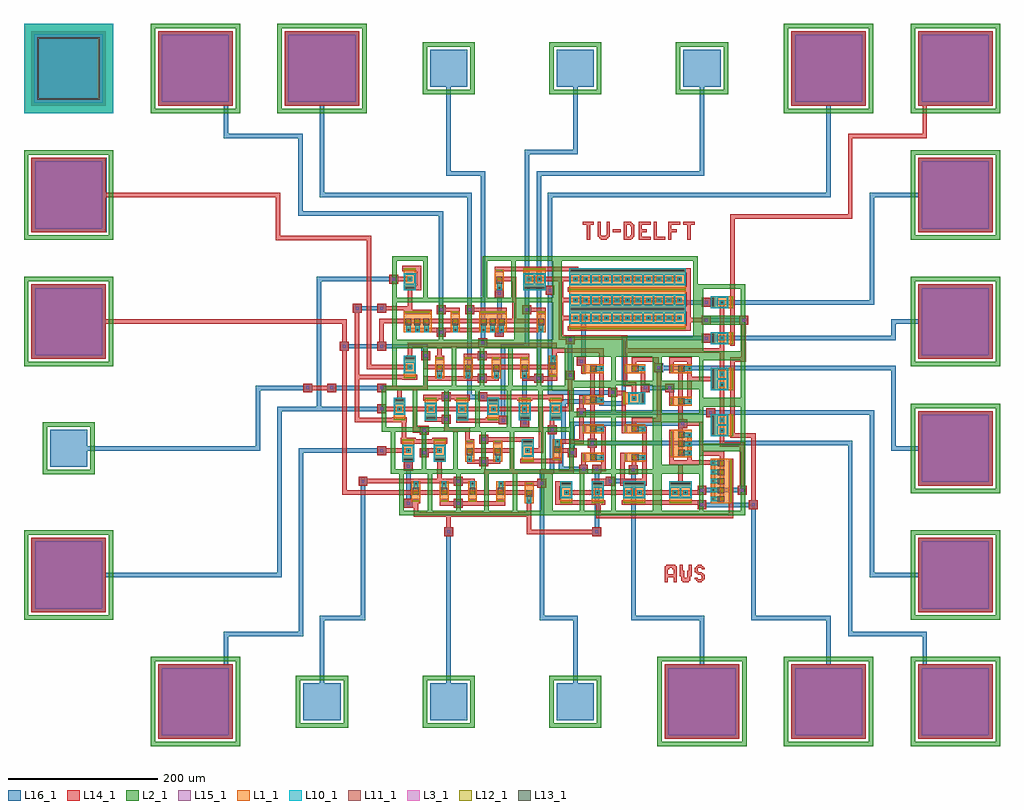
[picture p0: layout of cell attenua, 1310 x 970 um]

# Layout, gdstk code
from math import pi, radians
import gdstk
lib = gdstk.Library(unit=1e-6, precision=1e-10)
def R(c, l, rs):  # rectangles x0, y0, x1, y1
    for r in rs: c.add(gdstk.rectangle(r[:2], r[2:], *l))
def A(c, l, x, y, w, h, nx, ny, dx, dy):  # array of equal rectangles
    R(c, l, [(x+i*dx, y+j*dy, x+i*dx+w, y+j*dy+h) for i in range(nx) for j in range(ny)])
L1_1 = (1, 1)
L2_1 = (2, 1)
L3_1 = (3, 1)
L10_1 = (10, 1)
L11_1 = (11, 1)
L12_1 = (12, 1)
L13_1 = (13, 1)
L14_1 = (14, 1)
L15_1 = (15, 1)
L16_1 = (16, 1)

pad_dm_100 = lib.new_cell('pad_dm_100')
R(pad_dm_100, L2_1, [(0,0,120,6), (0,6,6,114), (114,6,120,114), (0,114,120,120)])
R(pad_dm_100, L14_1, [(10,10,110,110)])
R(pad_dm_100, L15_1, [(15,15,105,105)])
R(pad_dm_100, L16_1, [(10,10,110,110)])

letter_s = lib.new_cell('letter_s')
R(letter_s, L14_1, [(340,578,346,580), (338,580,348,582), (336,582,340,584), (346,582,350,584), (346,584,350,587), (345,587,350,588), (340,588,348,590), (338,590,346,592), (336,592,341,593), (336,593,340,598), (346,596,350,597), (346,597,350,598), (338,598,348,600), (340,600,346,602)])

letter_v = lib.new_cell('letter_v')
R(letter_v, L14_1, [(358,578,362,580), (362,578,366,580), (356,580,368,584), (356,584,360,586), (364,584,368,586), (354,586,360,594), (364,586,370,594), (354,594,358,602), (366,594,370,602)])

letter_a = lib.new_cell('letter_a')
R(letter_a, L14_1, [(652,443,656,449), (664,443,668,447), (664,447,668,450), (652,449,656,450), (652,450,668,454), (652,454,656,461), (664,454,668,461), (652,461,658,463), (662,461,668,463), (652,463,668,465), (654,465,666,467)])

letter_t = lib.new_cell('letter_t')
R(letter_t, L14_1, [(414,578,419,598), (409,598,424,602)])

letter_f = lib.new_cell('letter_f')
R(letter_f, L14_1, [(652,443,656,447), (652,447,656,449), (652,449,656,450), (652,450,656,453), (652,453,663,457), (652,457,656,463), (652,463,668,467)])

letter_l = lib.new_cell('letter_l')
R(letter_l, L14_1, [(652,443,668,447), (652,447,656,449), (652,449,656,450), (652,450,656,457), (652,457,656,463), (652,463,656,467)])

letter_e = lib.new_cell('letter_e')
R(letter_e, L14_1, [(652,443,668,447), (652,447,656,449), (652,449,656,450), (652,450,656,453), (652,453,663,457), (652,457,656,463), (652,463,668,467)])

letter_d = lib.new_cell('letter_d')
R(letter_d, L14_1, [(374,578,378,602), (378,578,384,579), (378,579,386,581), (378,581,387,582), (383,582,388,584), (384,584,388,586), (384,586,388,588), (384,588,388,594), (384,594,388,596), (383,596,388,598), (378,598,387,599), (378,599,386,600), (378,600,384,602)])

letter_u = lib.new_cell('letter_u')
R(letter_u, L14_1, [(358,578,362,580), (362,578,366,580), (356,580,368,582), (354,582,370,583), (354,583,359,584), (365,583,370,584), (354,584,358,588), (366,584,370,602), (354,588,358,602)])

pnp = lib.new_cell('pnp')
R(pnp, L1_1, [(-6,-4,24,12)])
R(pnp, L2_1, [(-22,-20,40,-14), (-22,-14,-16,22), (34,-14,40,22), (-22,22,40,28)])
R(pnp, L3_1, [(22,-4,24,12)])
R(pnp, L10_1, [(-6,-4,17,-2), (-6,-2,3,10), (15,-2,17,10), (6,1,12,7), (-6,10,17,12)])
R(pnp, L12_1, [(22,-4,24,12)])
R(pnp, L13_1, [(-4,-2,-2,10), (8,3,10,5)])
R(pnp, L14_1, [(20,-6,26,14), (-6,-4,0,12), (6,1,12,7), (-4,3,-2,5), (-4,3,-2,5), (22,3,24,4), (22,3,24,4), (8,4,10,5), (8,4,10,5)])

npn = lib.new_cell('npn')
R(npn, L1_1, [(-3,-15,25,-3)])
R(npn, L2_1, [(-19,-31,43,-25), (-19,-25,-13,7), (37,-25,43,7), (-19,7,43,13)])
R(npn, L3_1, [(22,-13,25,-5)])
R(npn, L10_1, [(-3,-12,8,-6)])
R(npn, L11_1, [(6,-13,15,-5)])
R(npn, L12_1, [(23,-13,25,-5), (11,-11,13,-7)])
R(npn, L13_1, [(-1,-10,1,-8)])
R(npn, L14_1, [(21,-15,27,-3), (9,-13,15,-5), (-3,-12,3,-6), (10,-10,13,-8), (10,-10,13,-8), (-1,-9,0,-8), (-1,-9,0,-8), (23,-9,25,-8), (23,-9,25,-8)])

npn5 = lib.new_cell('npn5')
R(npn5, L1_1, [(-3,-63,25,-3)])
R(npn5, L2_1, [(-19,-79,43,-73), (-19,-73,-13,7), (37,-73,43,7), (-19,7,43,13)])
R(npn5, L3_1, [(22,-61,25,-5)])
A(npn5, L10_1, -3, -60, 11, 6, 1, 5, 0, 12)
A(npn5, L11_1, 6, -61, 9, 8, 1, 5, 0, 12)
A(npn5, L12_1, 11, -59, 2, 4, 1, 5, 0, 12)
R(npn5, L12_1, [(23,-61,25,-5)])
A(npn5, L13_1, -1, -58, 2, 2, 1, 5, 0, 12)
R(npn5, L14_1, [(21,-63,27,-3), (9,-61,15,-5), (-3,-60,3,-6), (-2,-50,1,-46), (-2,-50,1,-46), (10,-46,13,-44), (10,-46,13,-44), (23,-41,24,-40), (23,-41,24,-40)])

npn3 = lib.new_cell('npn3')
R(npn3, L1_1, [(-3,-40,25,-3)])
R(npn3, L2_1, [(-19,-56,43,-50), (-19,-50,-13,-25), (37,-50,43,-25), (-19,-25,-13,7), (37,-25,43,7), (-19,7,43,13)])
R(npn3, L3_1, [(22,-37,25,-5)])
A(npn3, L10_1, -3, -36, 11, 6, 1, 3, 0, 12)
A(npn3, L11_1, 6, -37, 9, 8, 1, 3, 0, 12)
A(npn3, L12_1, 11, -35, 2, 4, 1, 3, 0, 12)
R(npn3, L12_1, [(23,-37,25,-5)])
A(npn3, L13_1, -1, -34, 2, 2, 1, 3, 0, 12)
R(npn3, L14_1, [(21,-40,27,-3), (9,-37,15,-5), (-3,-36,3,-6), (11,-23,13,-20), (11,-23,13,-20), (-1,-21,0,-19), (-1,-21,0,-19), (22,-21,24,-18), (22,-21,24,-18)])

pnp2 = lib.new_cell('pnp2')
R(pnp2, L1_1, [(-6,-4,24,26)])
R(pnp2, L2_1, [(-22,-20,40,-14), (-22,-14,-16,36), (34,-14,40,22), (34,22,40,36), (-22,36,40,42)])
R(pnp2, L3_1, [(22,-4,24,26)])
A(pnp2, L10_1, -6, -4, 23, 2, 1, 3, 0, 14)
R(pnp2, L10_1, [(-6,-2,3,10), (15,-2,17,10), (6,1,12,7), (-6,12,3,24), (15,12,17,24), (6,15,12,21)])
R(pnp2, L12_1, [(22,-4,24,26)])
R(pnp2, L13_1, [(-4,-2,-2,24), (8,3,10,5), (8,17,10,19)])
R(pnp2, L14_1, [(20,-6,26,28), (-6,-4,0,26), (6,1,12,21), (-4,11,-2,13), (-4,11,-2,13), (22,13,23,16), (22,13,23,16), (7,15,10,17), (7,15,10,17)])

pnp33inst = lib.new_cell('pnp33inst')
R(pnp33inst, L1_1, [(-6,-144,24,12)])
R(pnp33inst, L3_1, [(22,-144,24,12)])
A(pnp33inst, L10_1, -6, -144, 23, 2, 1, 12, 0, 14)
A(pnp33inst, L10_1, -6, -142, 9, 12, 1, 11, 0, 14)
A(pnp33inst, L10_1, 15, -142, 2, 12, 1, 11, 0, 14)
A(pnp33inst, L10_1, 6, -139, 6, 6, 1, 11, 0, 14)
R(pnp33inst, L12_1, [(22,-144,24,12)])
A(pnp33inst, L13_1, 8, -137, 2, 2, 1, 11, 0, 14)
R(pnp33inst, L13_1, [(-4,-142,-2,10)])
R(pnp33inst, L14_1, [(20,-146,26,14), (-6,-144,0,12), (-5,-143,0,-139), (-5,-143,0,-139), (21,-143,25,-140), (21,-143,25,-140), (6,-139,12,7), (8,-137,11,-134), (8,-137,11,-134)])

pnp33 = lib.new_cell('pnp33')
R(pnp33, L2_1, [(-22,-160,92,-154), (-22,-154,-16,22), (86,-154,92,22), (-22,22,92,28)])
R(pnp33, L14_1, [(-6,-151,78,-145), (-4,-149,1,-145), (-4,-149,1,-145), (-6,-145,0,-3), (46,-145,52,-139), (20,-144,26,-3), (58,-137,63,-136), (58,-136,64,-3), (6,-134,12,-3), (34,-133,40,-3), (34,1,40,20), (58,1,64,20), (6,2,12,20), (6,20,64,26), (8,20,10,26), (8,20,10,26)])
pnp33.add(gdstk.Reference(pnp33inst, (46,-132), rotation=pi))
pnp33.add(gdstk.Reference(pnp33inst, (52,0)))
pnp33.add(gdstk.Reference(pnp33inst, (0,0)))

pad_sm_50 = lib.new_cell('pad_sm_50')
R(pad_sm_50, L2_1, [(-10,-10,60,-4), (-10,-4,-4,54), (54,-4,60,54), (-10,54,60,60)])
R(pad_sm_50, L16_1, [(0,0,50,50), (20,24,25,28), (20,24,25,28)])

pads_dm_100 = lib.new_cell('padS_dm_100')
R(pads_dm_100, L2_1, [(-60,-60,60,60)])
R(pads_dm_100, L10_1, [(-60,-60,60,60)])
R(pads_dm_100, L13_1, [(-42,-42,42,-40), (-42,-40,-40,40), (40,-40,42,40), (-42,40,42,42)])
R(pads_dm_100, L14_1, [(-50,-50,50,50)])
R(pads_dm_100, L15_1, [(-46,-46,46,46)])
R(pads_dm_100, L16_1, [(-50,-50,50,50)])

attenua = lib.new_cell('attenua')
R(attenua, L2_1, [(192,0,203,59), (223,216,403,228), (209,228,404,239), (159,230,167,286), (396,239,403,310)])
R(attenua, L14_1, [(59,-28,71,-16), (258,-28,270,-25), (170,-25,270,-19), (170,-19,176,-2), (258,-19,270,-16), (62,-16,68,-2), (263,-4,447,2), (18,-2,176,4), (263,2,269,14), (441,2,447,23), (18,4,24,10), (170,4,176,17), (399,8,411,14), (468,8,480,17), (5,10,24,16), (72,10,84,13), (53,13,141,16), (208,14,213,15), (221,14,269,20), (323,14,370,20), (386,14,411,20), (208,15,214,40), (5,16,18,22), (19,16,25,22), (57,16,141,19), (171,17,176,22), (468,17,480,20), (72,19,84,22), (471,20,477,104), (-78,28,172,34), (224,28,372,34), (380,28,411,34), (453,28,465,40), (-78,34,-72,37), (113,34,119,56), (399,34,411,40), (-78,37,-72,193), (184,37,196,40), (-56,40,-44,43), (72,40,84,43), (133,40,196,46), (208,40,219,46), (273,40,288,43), (295,40,300,43), (329,40,331,43), (456,40,462,92), (362,41,368,46), (-56,43,100,49), (257,43,288,49), (295,43,331,49), (184,46,196,49), (373,46,379,68), (-56,49,-44,52), (50,49,56,78), (72,49,84,52), (276,49,288,52), (295,49,301,72), (325,49,331,75), (307,55,319,64), (113,56,233,62), (240,56,252,68), (258,56,270,59), (258,59,276,68), (5,60,17,72), (147,62,153,84), (227,62,233,65), (307,64,319,67), (227,65,233,71), (106,66,118,69), (311,67,317,78), (429,67,435,80), (243,68,249,72), (270,68,276,113), (361,68,423,74), (90,69,134,72), (173,70,217,73), (227,71,233,78), (91,72,134,75), (295,72,302,84), (173,73,212,76), (361,74,367,75), (385,74,391,88), (106,75,118,78), (326,75,331,81), (361,75,367,85), (255,76,261,91), (26,78,38,84), (225,78,237,84), (401,80,435,86), (-31,81,-19,84), (325,81,331,104), (-31,84,13,90), (26,84,56,90), (90,84,153,90), (168,84,192,90), (209,84,237,90), (401,86,407,93), (-31,90,-19,93), (186,90,192,140), (252,91,264,103), (429,92,462,98), (401,93,407,120), (1,96,63,102), (106,96,118,99), (208,96,246,102), (429,98,435,117), (90,99,99,100), (106,99,167,102), (90,100,93,102), (1,102,21,103), (43,102,63,103), (87,102,93,112), (106,102,179,105), (240,102,246,132), (2,103,8,125), (255,103,261,151), (325,104,331,113), (443,104,477,110), (106,105,118,108), (373,105,379,117), (26,108,38,111), (198,109,210,121), (297,110,303,143), (17,111,38,120), (59,112,93,118), (269,113,276,116), (311,113,317,125), (326,113,331,119), (267,116,276,119), (373,117,385,120), (59,118,65,119), (161,118,173,130), (59,119,65,123), (17,120,23,140), (373,120,407,126), (201,121,207,128), (132,122,144,124), (443,122,449,179), (56,123,68,126), (75,124,144,130), (-61,125,9,127), (311,125,350,131), (429,125,435,179), (33,126,68,132), (373,126,385,128), (-61,127,1,131), (2,127,8,129), (210,128,214,134), (373,128,385,129), (373,129,379,199), (75,130,91,132), (131,130,144,132), (-61,131,-55,183), (344,131,350,143), (38,132,44,134), (56,132,68,135), (132,132,144,134), (237,132,249,144), (411,132,423,144), (-31,137,-19,140), (-31,140,231,146), (297,143,303,149), (344,143,350,192), (240,144,246,151), (-31,146,-19,149), (225,146,231,182), (361,149,367,155), (385,150,391,180), (240,151,243,152), (-4,152,2,168), (117,152,123,153), (240,152,246,158), (255,152,261,194), (56,153,68,156), (105,153,123,154), (267,153,273,218), (38,154,49,156), (74,154,90,156), (105,154,133,156), (201,154,210,156), (297,155,303,161), (311,155,317,173), (38,156,90,159), (105,156,161,160), (167,156,210,160), (240,158,243,161), (323,158,329,165), (361,158,367,165), (31,159,90,160), (279,159,291,161), (31,160,93,162), (105,160,219,162), (279,161,297,167), (56,162,68,165), (105,162,117,165), (-130,165,-118,168), (-98,165,-86,168), (-31,165,-19,168), (323,165,334,177), (356,165,367,177), (279,167,291,171), (-130,168,-86,174), (-31,168,37,174), (299,173,317,179), (-130,174,-118,177), (-98,174,-86,177), (-31,174,-19,177), (31,174,37,181), (323,177,329,200), (104,178,116,181), (180,178,192,181), (299,179,305,218), (385,180,422,186), (31,181,132,187), (164,181,211,184), (222,182,234,194), (-61,183,19,188), (166,184,211,187), (385,186,391,206), (104,187,116,190), (166,187,172,190), (180,187,192,190), (-61,188,23,189), (429,188,435,194), (-61,189,-55,272), (243,190,249,200), (341,192,352,204), (-78,193,-72,205), (443,193,449,206), (311,194,317,206), (429,194,435,218), (-45,196,13,197), (31,196,206,202), (-45,197,16,202), (361,197,367,206), (237,201,249,213), (-45,202,-39,203), (31,202,37,208), (-45,203,-39,369), (341,204,347,206), (-78,205,-72,221), (311,206,347,212), (361,206,391,212), (443,206,464,212), (28,208,40,220), (52,208,58,214), (104,208,116,211), (204,208,210,218), (9,209,16,215), (87,211,173,214), (458,212,464,256), (50,214,56,226), (85,214,173,217), (10,215,16,226), (104,217,116,220), (204,218,273,224), (299,218,435,224), (-81,221,-69,233), (-31,221,-19,233), (204,224,210,226), (299,224,305,231), (429,224,435,289), (10,226,210,230), (10,230,210,232), (222,230,234,236), (299,231,305,236), (105,232,117,238), (405,232,417,233), (443,232,449,285), (-78,233,-72,257), (-28,233,-22,258), (405,233,423,235), (405,235,417,244), (213,236,305,242), (49,240,61,246), (127,240,139,246), (213,242,219,267), (22,246,192,252), (405,256,417,259), (455,256,467,268), (-419,257,-72,263), (-28,258,116,264), (133,258,193,264), (388,259,417,265), (150,264,156,279), (405,265,417,268), (10,270,16,275), (49,270,61,273), (87,270,99,273), (164,270,176,273), (187,270,193,273), (-64,272,-52,284), (-31,272,-19,275), (49,273,80,279), (87,273,143,279), (164,273,195,279), (-31,275,16,281), (49,279,61,282), (87,279,99,282), (150,279,156,314), (164,279,176,282), (405,280,417,292), (-31,281,-19,284), (10,281,16,299), (443,289,449,383), (127,292,139,304), (195,296,207,308), (10,299,16,302), (5,302,16,305), (17,302,28,308), (10,305,16,306), (22,308,28,329), (-15,311,-3,314), (-15,314,16,320), (130,314,156,320), (187,314,219,316), (187,316,221,320), (-15,320,-3,323), (133,326,136,328), (20,328,21,329), (127,328,168,334), (192,328,239,334), (3,329,9,333), (11,329,28,333), (3,333,28,335), (-167,369,-39,375), (-167,375,-161,427), (285,380,296,384), (443,383,449,398), (443,398,607,404), (601,404,607,409), (601,409,607,410), (601,410,607,506), (-405,427,-161,433), (601,506,707,512), (701,512,707,559)])
A(attenua, L15_1, 409, 236, 4, 4, 1, 3, 0, 24)
R(attenua, L15_1, [(63,-24,67,-20), (262,-24,266,-20), (403,12,407,16), (472,12,476,16), (9,14,13,18), (76,14,80,18), (403,32,407,36), (457,32,461,36), (188,41,192,45), (-52,44,-48,48), (76,44,80,48), (280,44,284,48), (311,59,315,63), (244,60,248,64), (262,60,266,64), (9,64,13,68), (110,70,114,74), (30,82,34,86), (229,82,233,86), (-27,85,-23,89), (256,95,260,99), (110,100,114,104), (30,112,34,116), (202,113,206,117), (377,121,381,125), (165,122,169,126), (136,126,140,130), (60,127,64,131), (241,136,245,140), (415,136,419,140), (-27,141,-23,145), (60,157,64,161), (109,157,113,161), (283,163,287,167), (-126,169,-122,173), (-94,169,-90,173), (-27,169,-23,173), (327,169,331,173), (360,169,364,173), (108,182,112,186), (184,182,188,186), (226,186,230,190), (345,196,349,200), (241,205,245,209), (32,212,36,216), (108,212,112,216), (-77,225,-73,229), (-27,225,-23,229), (109,230,113,234), (226,234,230,238), (53,244,57,248), (131,244,135,248), (459,260,463,264), (53,274,57,278), (91,274,95,278), (168,274,172,278), (-60,276,-56,280), (-27,276,-23,280), (131,296,135,300), (199,300,203,304), (-11,315,-7,319)])
R(attenua, L16_1, [(-325,-300,-225,-200), (-325,-300,-225,-200), (-325,-300,-225,-200), (355,-300,455,-200), (355,-300,455,-200), (355,-300,455,-200), (525,-300,625,-200), (525,-300,625,-200), (525,-300,625,-200), (695,-300,795,-200), (695,-300,795,-200), (695,-300,795,-200), (-130,-275,-80,-225), (-130,-275,-80,-225), (-130,-275,-80,-225), (40,-275,90,-225), (40,-275,90,-225), (40,-275,90,-225), (210,-275,260,-225), (210,-275,260,-225), (210,-275,260,-225), (232,-235,238,-141), (-108,-233,-102,-141), (62,-228,68,-28), (-237,-208,-231,-162), (572,-208,578,-141), (402,-206,408,-141), (701,-204,707,-162), (-237,-162,-130,-156), (601,-162,707,-156), (-136,-156,-130,84), (601,-156,607,-46), (-108,-141,-47,-135), (187,-141,238,-135), (310,-141,408,-135), (471,-141,578,-135), (-53,-135,-47,22), (187,-135,193,37), (310,-135,316,-134), (471,-135,477,-134), (310,-134,316,-65), (471,-134,477,8), (-495,-130,-395,-30), (-495,-130,-395,-30), (695,-130,795,-30), (695,-130,795,-30), (695,-130,795,-30), (-402,-83,-159,-77), (630,-83,724,-77), (-402,-77,-395,-76), (-165,-77,-159,140), (630,-77,636,22), (310,-65,316,43), (601,-46,607,94), (59,-28,71,-16), (258,-28,270,-16), (261,-16,267,56), (399,8,411,11), (468,8,480,11), (5,10,17,22), (72,10,84,22), (399,11,480,17), (399,17,411,20), (468,17,480,20), (-53,22,-47,40), (8,22,14,60), (75,22,81,40), (630,22,636,135), (399,28,411,31), (453,28,465,31), (399,31,465,37), (184,37,196,49), (399,37,411,40), (453,37,465,40), (-56,40,-44,52), (72,40,84,52), (276,40,288,43), (695,40,795,140), (695,40,795,140), (695,40,795,140), (276,43,316,49), (187,49,193,56), (276,49,288,52), (310,49,316,55), (307,55,319,64), (187,56,207,62), (240,56,252,59), (258,56,270,68), (213,59,252,65), (5,60,17,72), (201,62,207,109), (307,64,319,67), (-470,65,-420,115), (-470,65,-420,115), (213,65,219,76), (240,65,252,68), (106,66,118,78), (213,76,219,82), (26,78,38,90), (109,78,115,96), (225,78,237,90), (-31,81,-19,84), (213,82,219,96), (-136,84,-19,90), (-426,87,-188,93), (659,87,704,93), (-31,90,-19,93), (29,90,35,108), (228,90,234,120), (252,91,264,94), (-194,93,-188,168), (659,93,665,195), (252,94,607,100), (106,96,118,108), (213,96,222,102), (252,100,264,101), (252,101,264,103), (216,102,222,150), (26,108,38,120), (198,109,210,121), (373,117,385,120), (161,118,173,130), (228,120,385,126), (132,122,144,134), (56,123,68,135), (373,126,385,129), (164,130,170,181), (237,132,249,135), (411,132,423,135), (135,134,141,224), (59,135,65,153), (237,135,636,141), (-31,137,-19,140), (-165,140,-19,146), (237,141,249,144), (411,141,423,144), (-112,146,-106,149), (-31,146,-19,149), (267,147,303,150), (-112,149,-106,314), (216,150,303,153), (56,153,68,165), (105,153,117,156), (216,153,273,156), (297,153,303,156), (90,156,117,162), (297,156,303,235), (279,159,291,161), (279,161,291,162), (90,162,96,270), (105,162,117,165), (198,162,291,168), (-130,165,-118,168), (-98,165,-86,168), (-31,165,-19,168), (323,165,335,168), (356,165,368,168), (-194,168,-118,174), (-98,168,-19,174), (198,168,204,296), (279,168,291,171), (323,168,368,174), (-130,174,-118,177), (-98,174,-86,177), (-31,174,-19,177), (323,174,335,177), (356,174,368,177), (104,178,116,190), (180,178,192,181), (164,181,192,187), (222,182,234,194), (180,187,192,190), (107,190,113,208), (183,190,189,424), (341,192,353,195), (225,194,231,230), (341,195,665,201), (237,201,249,213), (341,201,353,204), (28,208,40,220), (104,208,116,220), (-495,210,-395,310), (-495,210,-395,310), (695,210,795,310), (695,210,795,310), (695,210,795,310), (243,213,249,259), (28,220,37,224), (-81,221,-69,224), (-31,221,-19,224), (-81,224,37,230), (135,224,173,230), (105,226,117,238), (-81,230,-69,233), (-31,230,-19,233), (167,230,173,270), (222,230,234,242), (405,232,417,235), (297,235,665,241), (108,238,114,424), (49,240,61,252), (127,240,139,252), (405,241,417,244), (659,241,665,257), (52,252,58,270), (130,252,136,292), (405,256,417,259), (455,256,467,259), (659,257,705,263), (243,259,249,283), (405,259,467,265), (405,265,417,268), (455,265,467,268), (49,270,61,282), (87,270,99,282), (164,270,176,273), (-64,272,-52,275), (-31,272,-19,275), (164,273,176,279), (-64,275,-19,281), (164,279,176,282), (405,280,417,283), (-64,281,-52,284), (-31,281,-19,284), (52,282,58,402), (90,282,96,424), (167,282,173,403), (243,283,636,289), (405,289,417,292), (630,289,636,427), (127,292,139,304), (195,296,207,308), (198,308,204,403), (-15,311,-3,314), (-112,314,-3,320), (-15,320,-3,323), (-494,380,-394,480), (-494,380,-394,480), (695,380,795,480), (695,380,795,480), (695,380,795,480), (-137,402,58,408), (167,403,173,485), (198,403,204,427), (-137,408,-131,506), (90,424,96,427), (108,424,114,436), (183,424,189,436), (-108,427,96,433), (198,427,578,433), (630,427,710,433), (-108,433,-102,563), (572,433,578,557), (108,436,114,456), (183,436,189,456), (62,456,114,462), (183,456,408,462), (62,462,68,583), (402,462,408,577), (167,485,238,491), (232,491,238,588), (-237,506,-131,512), (-237,512,-231,557), (-325,550,-225,650), (-325,550,-225,650), (-325,550,-225,650), (-155,550,-55,650), (-155,550,-55,650), (-155,550,-55,650), (525,550,625,650), (525,550,625,650), (525,550,625,650), (695,550,795,650), (695,550,795,650), (695,550,795,650), (40,575,90,625), (40,575,90,625), (40,575,90,625), (210,575,260,625), (210,575,260,625), (210,575,260,625), (380,575,430,625), (380,575,430,625), (380,575,430,625), (401,577,408,583)])
attenua.add(gdstk.Reference(pad_dm_100, (-505,-140)))
attenua.add(gdstk.Reference(letter_s, (59,-668)))
attenua.add(gdstk.Reference(letter_v, (21,-668)))
attenua.add(gdstk.Reference(letter_a, (-297,-533)))
attenua.add(gdstk.Reference(letter_t, (-29,-208)))
attenua.add(gdstk.Reference(letter_f, (-292,-73)))
attenua.add(gdstk.Reference(letter_l, (-312,-73)))
attenua.add(gdstk.Reference(letter_e, (-332,-73)))
attenua.add(gdstk.Reference(letter_d, (-74,-208)))
attenua.add(gdstk.Reference(letter_u, (-89,-208)))
attenua.add(gdstk.Reference(letter_t, (-164,-208)))
attenua.add(gdstk.Reference(pnp, (87,134), rotation=pi/2))
attenua.add(gdstk.Reference(pnp, (45,134), rotation=pi/2))
attenua.add(gdstk.Reference(pnp, (121,152), rotation=3*pi/2))
attenua.add(gdstk.Reference(pnp, (213,134), rotation=pi/2))
attenua.add(gdstk.Reference(pnp, (171,134), rotation=pi/2))
attenua.add(gdstk.Reference(npn, (30,43), rotation=3*pi/2))
attenua.add(gdstk.Reference(npn, (68,43), rotation=3*pi/2))
attenua.add(gdstk.Reference(npn, (164,19), rotation=pi/2))
attenua.add(gdstk.Reference(npn, (106,43), rotation=3*pi/2))
attenua.add(gdstk.Reference(npn, (144,43), rotation=3*pi/2))
attenua.add(gdstk.Reference(npn, (270,69), rotation=pi))
attenua.add(gdstk.Reference(npn, (270,107), rotation=pi))
attenua.add(gdstk.Reference(npn, (270,188), rotation=pi))
attenua.add(gdstk.Reference(npn, (270,146), rotation=pi))
attenua.add(gdstk.Reference(npn, (220,99), rotation=3*pi/2))
attenua.add(gdstk.Reference(npn, (122,75), rotation=pi/2))
attenua.add(gdstk.Reference(npn, (84,75), rotation=pi/2))
attenua.add(gdstk.Reference(pnp, (167,96), rotation=3*pi/2))
attenua.add(gdstk.Reference(npn, (82,187), rotation=pi/2))
attenua.add(gdstk.Reference(npn, (120,187), rotation=pi/2))
attenua.add(gdstk.Reference(npn, (158,187), rotation=pi/2))
attenua.add(gdstk.Reference(npn, (44,187), rotation=pi/2))
attenua.add(gdstk.Reference(npn, (214,211), rotation=3*pi/2))
attenua.add(gdstk.Reference(npn, (326,69), rotation=pi))
attenua.add(gdstk.Reference(npn, (326,107), rotation=pi))
attenua.add(gdstk.Reference(npn, (326,188), rotation=pi))
attenua.add(gdstk.Reference(pnp, (323,161), rotation=pi))
attenua.add(gdstk.Reference(pnp, (57,78), rotation=pi/2))
attenua.add(gdstk.Reference(pnp, (15,78), rotation=pi/2))
attenua.add(gdstk.Reference(pnp, (-5,152), rotation=3*pi/2))
attenua.add(gdstk.Reference(pnp, (9,208), rotation=3*pi/2))
attenua.add(gdstk.Reference(pnp, (219,40), rotation=3*pi/2))
attenua.add(gdstk.Reference(pnp, (423,234)))
attenua.add(gdstk.Reference(npn5, (420,79)))
attenua.add(gdstk.Reference(npn3, (388,75), rotation=pi))
attenua.add(gdstk.Reference(pnp2, (423,110)))
attenua.add(gdstk.Reference(pnp2, (191,308), rotation=pi/2))
attenua.add(gdstk.Reference(pnp2, (365,40), rotation=3*pi/2))
attenua.add(gdstk.Reference(npn, (388,144), rotation=pi))
attenua.add(gdstk.Reference(npn, (388,188), rotation=pi))
attenua.add(gdstk.Reference(pnp2, (303,40), rotation=3*pi/2))
attenua.add(gdstk.Reference(pnp, (261,40), rotation=3*pi/2))
attenua.add(gdstk.Reference(pnp2, (423,172)))
attenua.add(gdstk.Reference(npn3, (103,249), rotation=pi/2))
attenua.add(gdstk.Reference(npn, (124,305), rotation=pi/2))
attenua.add(gdstk.Reference(pnp33, (239,326), rotation=3*pi/2, x_reflection=True))
attenua.add(gdstk.Reference(npn, (180,249), rotation=pi/2))
attenua.add(gdstk.Reference(npn, (65,249), rotation=pi/2))
attenua.add(gdstk.Reference(npn3, (2,249), rotation=pi/2))
attenua.add(gdstk.Reference(pnp, (17,308), rotation=pi/2))
attenua.add(gdstk.Reference(pnp, (423,282)))
attenua.add(gdstk.Reference(pad_dm_100, (685,30)))
attenua.add(gdstk.Reference(pad_dm_100, (685,200)))
attenua.add(gdstk.Reference(pad_dm_100, (685,370)))
attenua.add(gdstk.Reference(pad_dm_100, (685,540)))
attenua.add(gdstk.Reference(pad_dm_100, (345,-310)))
attenua.add(gdstk.Reference(pad_dm_100, (515,-310)))
attenua.add(gdstk.Reference(pad_dm_100, (685,-310)))
attenua.add(gdstk.Reference(pad_dm_100, (-165,540)))
attenua.add(gdstk.Reference(pad_dm_100, (-335,540)))
attenua.add(gdstk.Reference(pad_dm_100, (-505,370)))
attenua.add(gdstk.Reference(pad_dm_100, (-335,-310)))
attenua.add(gdstk.Reference(pad_sm_50, (40,575)))
attenua.add(gdstk.Reference(pad_sm_50, (210,575)))
attenua.add(gdstk.Reference(pad_sm_50, (380,575)))
attenua.add(gdstk.Reference(pad_sm_50, (-130,-275)))
attenua.add(gdstk.Reference(pad_sm_50, (40,-275)))
attenua.add(gdstk.Reference(pad_sm_50, (210,-275)))
attenua.add(gdstk.Reference(pad_dm_100, (685,-140)))
attenua.add(gdstk.Reference(pad_dm_100, (515,540)))
attenua.add(gdstk.Reference(pad_sm_50, (-470,65)))
attenua.add(gdstk.Reference(pads_dm_100, (-445,600)))
attenua.add(gdstk.Reference(pad_dm_100, (-505,200)))

lib.write_gds('attenua.gds')
